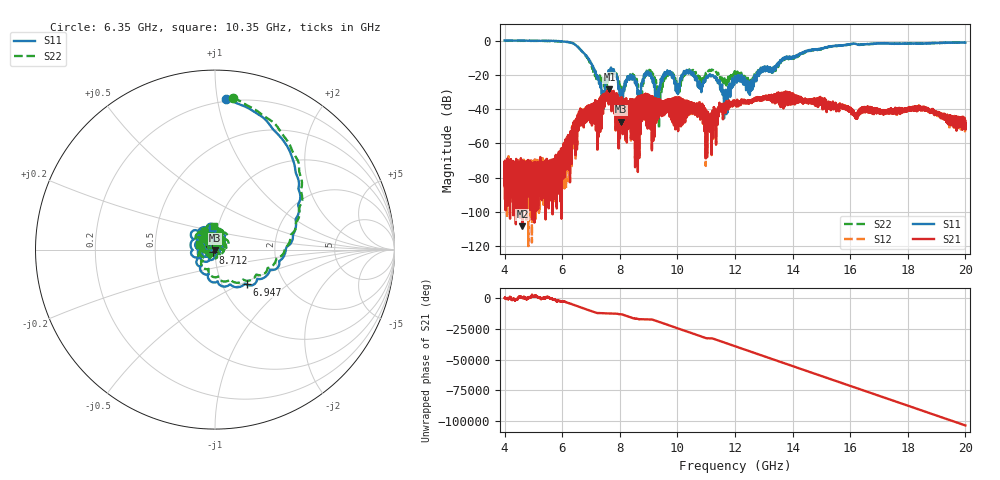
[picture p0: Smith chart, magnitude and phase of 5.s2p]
[Version] 2.0
! Rohde & Schwarz Vector Network Analyzer
! Rohde-Schwarz,ZNL20-2Port,1323001220200009,1.71.1.10-23.02.1.238
! Port Assignments:
! Nominal Port -> Actual Test Port
!  1 -> 1
!  2 -> 2
! Created: GMT+2 2025-01-16 20:22:07
# Hz S RI R 50
[Number of Ports] 2
[Two-Port Data Order] 21_12
! freq[Hz]  S11[Re]  S11[Im]  S21[Re]  S21[Im]  S12[Re]  S12[Im]  S22[Re]  S22[Im]
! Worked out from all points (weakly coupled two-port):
!   16001 points, 4 GHz to 20 GHz, reference 50 ohm
!   highest |S21| = -28.37 dB at 7.641 GHz (marker M1); lowest = -108.5 dB at 4.617 GHz (marker M2)
!   lowest |S11| = -47.3 dB at 8.05 GHz (marker M3), VSWR 1.01, Z = 50 - j0.429 ohm
!   |S11| at or under -10 dB: 6.889 GHz to 13.7 GHz (6.812 GHz wide, 66.2 % of centre); 13.71507 GHz to 13.74356 GHz (28.49 MHz wide, 0.207 % of centre); 13.94339 GHz to 13.96747 GHz (24.08 MHz wide, 0.173 % of centre) (the widest 3 of 9)
!   |S22| runs from -54.7 to 0.0 dB; largest |S21 - S12| = 0.0026
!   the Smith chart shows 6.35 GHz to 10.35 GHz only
!   S11 on the Smith chart (normalised r, x): 6.35 GHz: 0.18, +1.06; 6.947 GHz: 1.30, -0.54; 8.712 GHz: 0.97, -0.03; 10.35 GHz: 0.93, +0.23
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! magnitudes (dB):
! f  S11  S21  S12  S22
! 4 GHz  0.0  -83.6  -79.7  -0.2
! 4.617 GHz  0.0  -108.5  -89.1  -0.1
! 5.771 GHz  -0.2  -78.0  -85.7  -0.4
! 6.35 GHz  -1.5  -50.8  -50.5  -1.4
! 6.667 GHz  -5.9  -42.3  -42.0  -6.0
! 6.947 GHz  -11.6  -41.3  -41.2  -12.6
! 7.403 GHz  -29.9  -34.5  -34.5  -22.3
! 7.641 GHz  -17.3  -28.4  -28.3  -19.9
! 8.05 GHz  -47.3  -46.7  -46.5  -32.3
! 8.427 GHz  -22.8  -41.3  -41.2  -21.8
! 8.712 GHz  -33.9  -36.4  -36.3  -37.5
! 9.001 GHz  -20.2  -33.1  -33.1  -18.9
! 9.334 GHz  -28.3  -34.3  -34.1  -30.9
! 9.584 GHz  -20.6  -38.8  -38.7  -22.1
! 10.05 GHz  -25.7  -33.2  -33.2  -27.7
! 10.35 GHz  -18.1  -36.3  -36.2  -17.7
! 11.11 GHz  -19.9  -45.1  -45.0  -17.2
! 11.68 GHz  -28.8  -41.1  -40.9  -22.7
! 12 GHz  -20.8  -36.5  -36.5  -18.4
! 14.67 GHz  -5.5  -34.5  -34.5  -5.8
! 17.33 GHz  -1.8  -41.2  -40.9  -1.8
! 20 GHz  -1.2  -47.0  -46.8  -1.1
